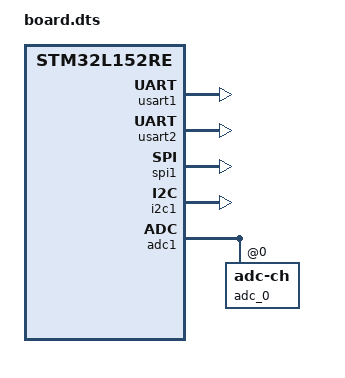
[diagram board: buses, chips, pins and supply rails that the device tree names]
/dts-v1/;
#include "dts/arm/stm32/stm32l1/stm32l152re/stm32l152re.dtsi"

/ {
    compatible = "st,nucleo-l152re";
    chosen {
        riot,spi = <&spi1>;
        riot,i2c = <&i2c1>;
        riot,uart = <&usart2>, <&usart1>;
        riot,adc = <&adc_0>;
    };
};

&pinctrl {
    my_usart1_pinctrl: usartpinctrl@0 {
        rx = <&gpioa 15 7>;
        tx = <&gpioa 9 7>;
    };
    my_usart2_pinctrl: usartpinctrl@1 {
        rx = <&gpioa 3 7>;
        tx = <&gpioa 2 7>;
    };
    my_spi1_pinctrl: spipinctrl@2 {
        cs =   <&gpioa 4 5>;
        sck =  <&gpioa 5 5>;
        miso = <&gpioa 6 5>;
        mosi = <&gpioa 7 5>;
    };
    my_i2c1_pinctrl: i2cpinctrl@3 {
        sda = <&gpiob 9 4>;
        scl = <&gpiob 8 4>;
    };
    adc_0_pinctrl: adcpinctrl@4 {
        pin = <&gpioa 0 0>;
    };
};

&usart1 {
    status = "okay";
    pinctrl = <&my_usart1_pinctrl>;
};

&usart2 {
    status = "okay";
    pinctrl = <&my_usart2_pinctrl>;
};

&spi1 {
    status = "okay";
    pinctrl = <&my_spi1_pinctrl>;
};

&i2c1 {
    status = "okay";
    pinctrl = <&my_i2c1_pinctrl>;
    speed = "I2C_SPEED_NORMAL";
    clk = "CLOCK_APB1";
};

&adc1 {
    adc_0: adc-ch@0 {
        status = "okay";
        channel = <0>;
        pinctrl = <&adc_0_pinctrl>;
    };
};
